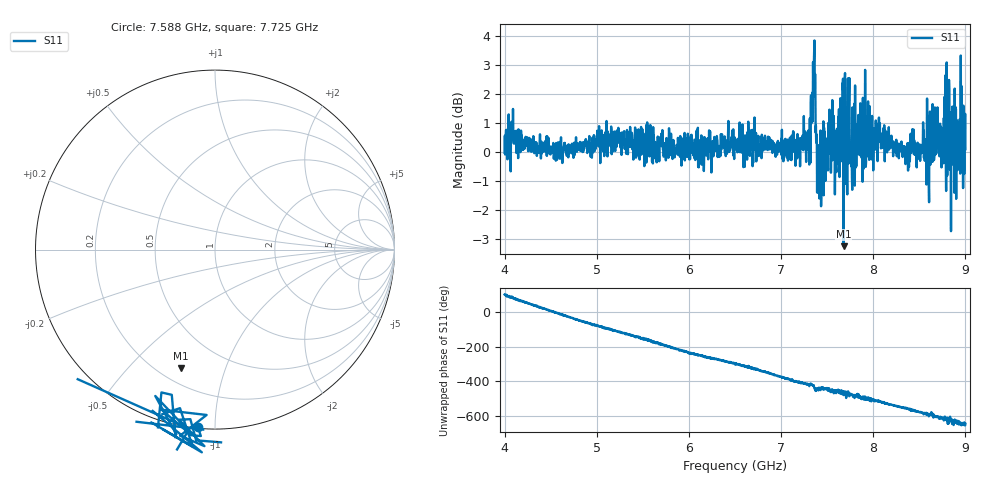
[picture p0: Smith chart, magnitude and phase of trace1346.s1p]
! Created with skrf 1.8.0 (http://scikit-rf.org).
# Hz S RI R 50.0
!freq ReS11 ImS11
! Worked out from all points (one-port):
!   1601 points, 4 GHz to 9 GHz, reference 50 ohm
!   lowest |S11| = -3.3 dB at 7.678 GHz (marker M1), VSWR 5.38, Z = 14.3 - j35.7 ohm
!   |S11| at or under -10 dB: nowhere
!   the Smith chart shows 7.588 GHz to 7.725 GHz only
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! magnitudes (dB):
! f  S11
! 4 GHz  0.0
! 4.1 GHz  0.3
! 4.625 GHz  -0.4
! 5.25 GHz  0.3
! 5.875 GHz  0.3
! 6.5 GHz  0.2
! 7.125 GHz  0.4
! 7.294 GHz  0.7
! 7.347 GHz  3.1
! 7.372 GHz  2.2
! 7.4 GHz  0.0
! 7.428 GHz  0.7
! 7.512 GHz  1.0
! 7.609 GHz  -0.3
! 7.647 GHz  0.4
! 7.678 GHz  -3.3
! 7.75 GHz  0.0
! 7.775 GHz  1.5
! 7.928 GHz  1.2
! 8.375 GHz  -0.1
! 8.425 GHz  0.8
! 8.581 GHz  0.7
! 8.634 GHz  -0.3
! 8.766 GHz  1.2
! 8.8 GHz  0.8
! 8.856 GHz  0.1
! 8.959 GHz  2.3
! 9 GHz  0.1
